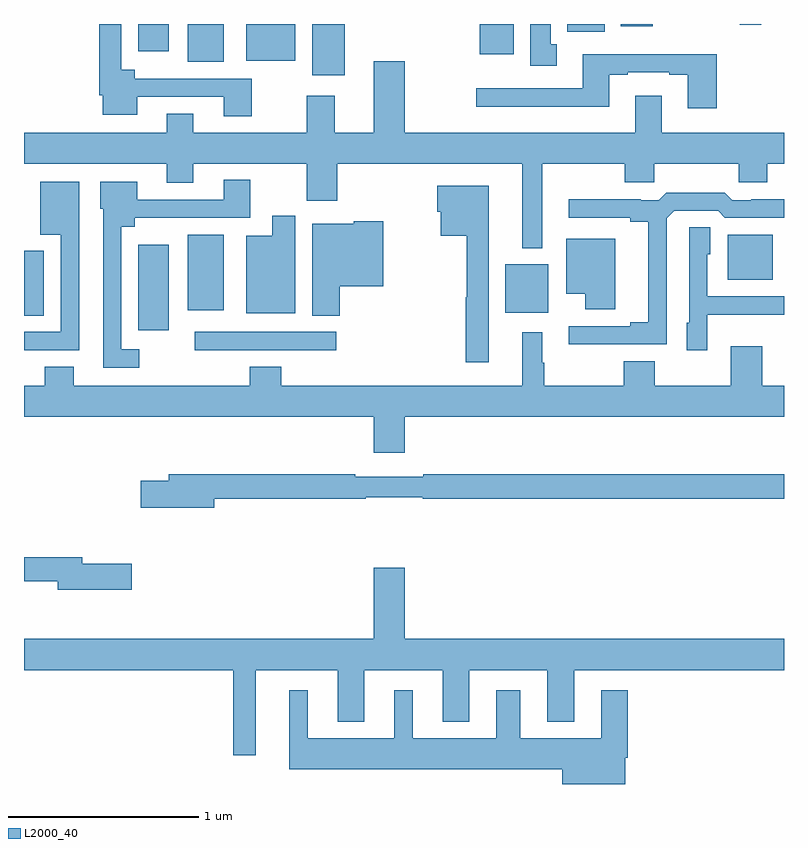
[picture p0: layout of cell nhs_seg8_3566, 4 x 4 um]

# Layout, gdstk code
import gdstk
lib = gdstk.Library(unit=1e-6, precision=1e-09)
def R(c, l, rs):  # rectangles x0, y0, x1, y1
    for r in rs: c.add(gdstk.rectangle(r[:2], r[2:], *l))
def P(c, l, *ps):  # polygons
    for p in ps: c.add(gdstk.Polygon(p, *l))
L2000_40 = (2000, 40)

nhs_seg8_3566 = lib.new_cell('nhs_seg8_3566')
R(nhs_seg8_3566, L2000_40, [(331.899,1118.184,332.644,1118.28), (331.601,1118.289,331.762,1118.737), (331,1118.365,331.105,1118.707), (333.533,1118.381,333.76,1118.635), (331.862,1118.393,332.05,1118.791), (334.703,1118.555,334.942,1118.791), (332.516,1119.629,332.689,1119.9), (331.862,1119.701,332.05,1119.9), (332.171,1119.707,332.428,1119.9), (333.398,1119.74,333.577,1119.9), (331.601,1119.756,331.762,1119.9), (333.86,1119.86,334.057,1119.9), (334.142,1119.888,334.309,1119.9), (334.766,1119.896,334.879,1119.9)])
P(nhs_seg8_3566, L2000_40, [(332.199,1119.612),(331.582,1119.612),(331.582,1119.658),(331.512,1119.658),(331.512,1119.9),(331.396,1119.9),(331.396,1119.526),(331.415,1119.526),(331.415,1119.422),(331.597,1119.422),(331.597,1119.516),(332.051,1119.516),(332.051,1119.414),(332.199,1119.414)],
  [(333.805,1119.794),(333.772,1119.794),(333.772,1119.9),(333.665,1119.9),(333.665,1119.681),(333.805,1119.681)],
  [(334.646,1119.742),(333.941,1119.742),(333.941,1119.561),(333.381,1119.561),(333.381,1119.464),(334.081,1119.464),(334.081,1119.633),(334.177,1119.633),(334.177,1119.645),(334.397,1119.645),(334.397,1119.633),(334.493,1119.633),(334.493,1119.456),(334.646,1119.456)],
  [(334.317,1119.164),(334.762,1119.164),(334.762,1119.066),(334.912,1119.066),(334.912,1119.164),(335,1119.164),(335,1119.328),(334.357,1119.328),(334.357,1119.523),(334.217,1119.523),(334.217,1119.328),(333.004,1119.328),(333.004,1119.703),(332.84,1119.703),(332.84,1119.328),(332.635,1119.328),(332.635,1119.523),(332.488,1119.523),(332.488,1119.328),(331.891,1119.328),(331.891,1119.427),(331.751,1119.427),(331.751,1119.328),(331,1119.328),(331,1119.164),(331.751,1119.164),(331.751,1119.065),(331.891,1119.065),(331.891,1119.164),(332.488,1119.164),(332.488,1118.97),(332.648,1118.97),(332.648,1119.164),(333.623,1119.164),(333.623,1118.72),(333.727,1118.72),(333.727,1119.164),(334.162,1119.164),(334.162,1119.066),(334.317,1119.066)],
  [(331.606,1118.187),(331.512,1118.187),(331.512,1118.834),(331.582,1118.834),(331.582,1118.88),(332.191,1118.88),(332.191,1119.079),(332.051,1119.079),(332.051,1118.976),(331.597,1118.976),(331.597,1119.07),(331.4,1119.07),(331.4,1118.928),(331.416,1118.928),(331.416,1118.091),(331.606,1118.091)],
  [(331.025,1118.184),(331.29,1118.184),(331.29,1119.07),(331.085,1119.07),(331.085,1118.792),(331.194,1118.792),(331.194,1118.28),(331,1118.28),(331,1118.183),(331.025,1118.183)],
  [(333.445,1119.049),(333.176,1119.049),(333.176,1118.913),(333.194,1118.913),(333.194,1118.786),(333.331,1118.786),(333.331,1118.462),(333.324,1118.462),(333.324,1118.121),(333.445,1118.121)],
  [(334.383,1118.877),(334.422,1118.916),(334.653,1118.916),(334.689,1118.88),(335,1118.88),(335,1118.978),(334.828,1118.978),(334.828,1118.973),(334.728,1118.973),(334.689,1119.013),(334.381,1119.013),(334.341,1118.973),(334.247,1118.973),(334.247,1118.978),(333.867,1118.978),(333.867,1118.88),(334.19,1118.88),(334.19,1118.858),(334.286,1118.858),(334.286,1118.33),(334.19,1118.33),(334.19,1118.31),(333.867,1118.31),(333.867,1118.214),(334.383,1118.214)],
  [(332.428,1118.89),(332.306,1118.89),(332.306,1118.785),(332.171,1118.785),(332.171,1118.378),(332.428,1118.378)],
  [(332.663,1118.519),(332.89,1118.519),(332.89,1118.863),(332.736,1118.863),(332.736,1118.848),(332.516,1118.848),(332.516,1118.365),(332.663,1118.365)],
  [(334.596,1118.369),(334.913,1118.369),(334.913,1118.37),(335,1118.37),(335,1118.466),(334.596,1118.466),(334.596,1118.688),(334.612,1118.688),(334.612,1118.831),(334.5,1118.831),(334.5,1118.328),(334.487,1118.328),(334.487,1118.184),(334.596,1118.184)],
  [(334.111,1118.77),(333.854,1118.77),(333.854,1118.48),(333.953,1118.48),(333.953,1118.4),(334.111,1118.4)],
  [(333.004,1117.832),(335,1117.832),(335,1117.996),(334.885,1117.996),(334.885,1118.203),(334.721,1118.203),(334.721,1117.996),(334.321,1117.996),(334.321,1118.125),(334.157,1118.125),(334.157,1117.996),(333.737,1117.996),(333.737,1118.117),(333.727,1118.117),(333.727,1118.278),(333.623,1118.278),(333.623,1117.996),(332.354,1117.996),(332.354,1118.095),(332.189,1118.095),(332.189,1117.996),(331.261,1117.996),(331.261,1118.095),(331.109,1118.095),(331.109,1117.996),(331,1117.996),(331,1117.832),(332.84,1117.832),(332.84,1117.644),(333.004,1117.644)],
  [(332.002,1117.402),(332.798,1117.402),(332.798,1117.41),(333.098,1117.41),(333.098,1117.402),(335,1117.402),(335,1117.531),(333.1,1117.531),(333.1,1117.518),(332.744,1117.518),(332.744,1117.531),(331.763,1117.531),(331.763,1117.497),(331.614,1117.497),(331.614,1117.355),(332.002,1117.355)],
  [(331.567,1117.058),(331.306,1117.058),(331.306,1117.094),(331,1117.094),(331,1116.966),(331.178,1116.966),(331.178,1116.923),(331.567,1116.923)],
  [(332.221,1116.5),(332.651,1116.5),(332.651,1116.227),(332.791,1116.227),(332.791,1116.5),(333.203,1116.5),(333.203,1116.227),(333.343,1116.227),(333.343,1116.5),(333.755,1116.5),(333.755,1116.227),(333.895,1116.227),(333.895,1116.5),(335,1116.5),(335,1116.664),(333.004,1116.664),(333.004,1117.039),(332.84,1117.039),(332.84,1116.664),(331,1116.664),(331,1116.5),(332.1,1116.5),(332.1,1116.051),(332.221,1116.051)],
  [(334.165,1116.038),(334.178,1116.038),(334.178,1116.394),(334.037,1116.394),(334.037,1116.142),(333.613,1116.142),(333.613,1116.394),(333.485,1116.394),(333.485,1116.142),(333.046,1116.142),(333.046,1116.394),(332.948,1116.394),(332.948,1116.142),(332.494,1116.142),(332.494,1116.394),(332.396,1116.394),(332.396,1115.978),(333.833,1115.978),(333.833,1115.9),(334.165,1115.9)])

lib.write_gds('nhs_seg8_3566.gds')
